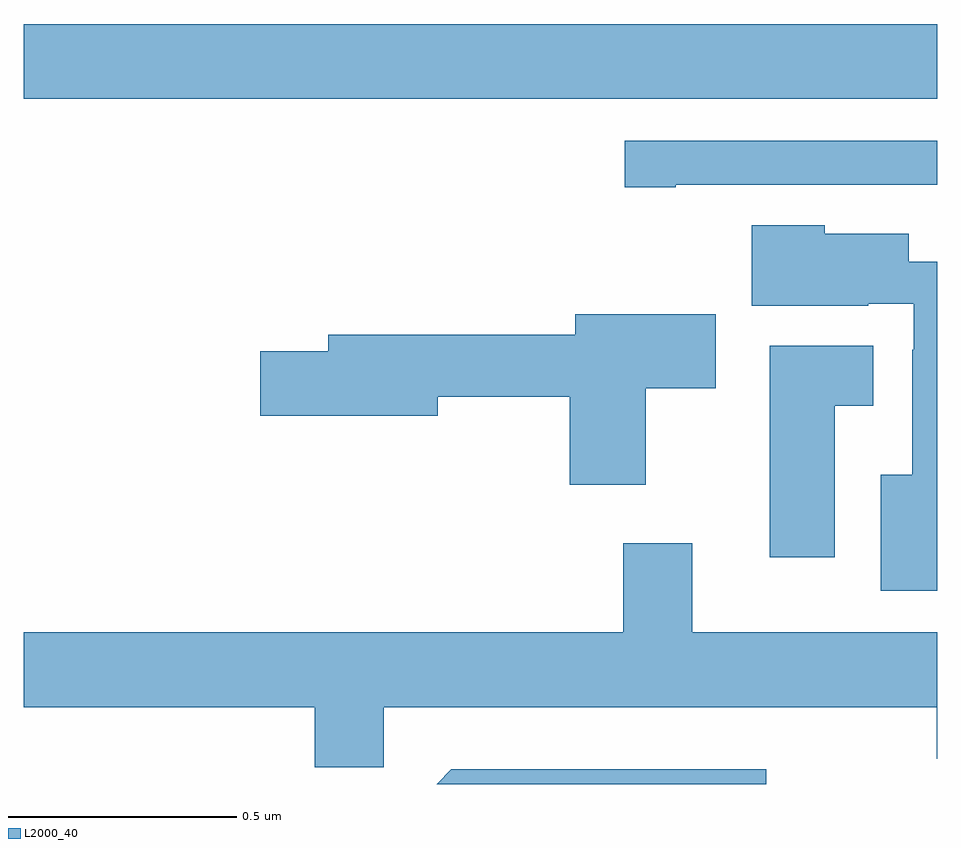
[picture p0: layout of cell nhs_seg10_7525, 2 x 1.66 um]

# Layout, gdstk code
import gdstk
lib = gdstk.Library(unit=1e-6, precision=1e-09)
def R(c, l, rs):  # rectangles x0, y0, x1, y1
    for r in rs: c.add(gdstk.rectangle(r[:2], r[2:], *l))
def P(c, l, *ps):  # polygons
    for p in ps: c.add(gdstk.Polygon(p, *l))
L2000_40 = (2000, 40)

nhs_seg10_7525 = lib.new_cell('nhs_seg10_7525')
R(nhs_seg10_7525, L2000_40, [(205,1283,207,1283.164)])
P(nhs_seg10_7525, L2000_40, [(206.428,1282.812),(207,1282.812),(207,1282.908),(206.316,1282.908),(206.316,1282.807),(206.428,1282.807)],
  [(207,1282.644),(206.938,1282.644),(206.938,1282.705),(206.754,1282.705),(206.754,1282.723),(206.594,1282.723),(206.594,1282.547),(206.849,1282.547),(206.849,1282.551),(206.949,1282.551),(206.949,1282.451),(206.945,1282.451),(206.945,1282.177),(206.876,1282.177),(206.876,1281.923),(207,1281.923)],
  [(206.362,1282.366),(206.515,1282.366),(206.515,1282.528),(206.207,1282.528),(206.207,1282.484),(205.667,1282.484),(205.667,1282.448),(205.518,1282.448),(205.518,1282.306),(205.906,1282.306),(205.906,1282.348),(206.195,1282.348),(206.195,1282.155),(206.362,1282.155)],
  [(206.776,1282.328),(206.86,1282.328),(206.86,1282.459),(206.633,1282.459),(206.633,1281.996),(206.776,1281.996)],
  [(205.788,1281.668),(206.999,1281.668),(206.999,1281.555),(207,1281.555),(207,1281.832),(206.464,1281.832),(206.464,1282.027),(206.312,1282.027),(206.312,1281.832),(205,1281.832),(205,1281.668),(205.637,1281.668),(205.637,1281.537),(205.788,1281.537)],
  [(206.626,1281.532),(205.936,1281.532),(205.904,1281.5),(206.626,1281.5)])

lib.write_gds('nhs_seg10_7525.gds')
